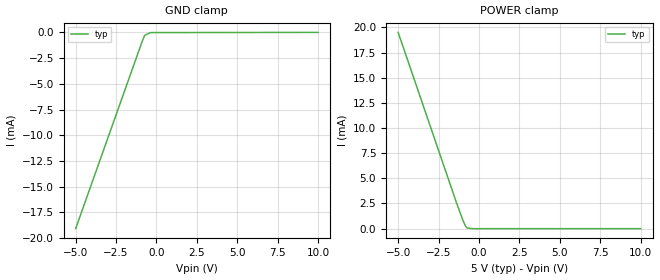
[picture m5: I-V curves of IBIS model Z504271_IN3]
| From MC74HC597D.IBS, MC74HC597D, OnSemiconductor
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| (C) COPYRIGHT 1993-2000
| MENTOR GRAPHICS CORPORATION
| ICX STANDARD LIBRARY, ICX PROJECT MODELING,
| ICX CUSTOM MODELING, ICX VENDOR MODEL
| ALL RIGHTS RESERVED.
| THE FOLLOWING ARE TRADEMARKS OR SERVICE MARKS OF
| MENTOR GRAPHICS CORPORATION:ICX (R), ICX STANDARD
| LIBRARY(R), ICX PROJECT MODELING(R), ICX CUSTOM
| MODELING(R), qualityIBIS(TM), MODELVIEWER(TM),
| AND MODELEDITOR(TM)
| ALL COPIES OF SOFTWARE, INCLUDING BUT NOT LIMITED TO
| ANY MODIFICATIONS, ENHANCEMENTS OR DERIVATIVE WORKS,
| MUST CONTAIN ALL MENTOR GRAPHICS CORPORATION'S
| NOTICES AND LEGENDS, INCLUDING THOSE EMBEDDED IN
| SOFTWARE AND THOSE AFFIXED TO SOFTWARE MEDIUM
| AND CONTAINER, AS RECEIVED FROM MENTOR GRAPHICS
| CORPORATION.
| Model Application Version 1.89 2/18/99.
[Model] Z504271_IN3
Model_type Input
Vinl = 1.000V
Vinh = 3.500V
C_comp 4.000pF NA NA
| variable typ   min   max
[Voltage Range] 5.000V NA NA
[GND Clamp Reference] 0.000V NA NA
[POWER Clamp Reference] 5.000V NA NA
[GND Clamp]
-5V       -19.08mA   NA         NA
-878.9mV  -853.4uA   NA         NA
-727.8mV  -285.7uA   NA         NA
-363.9mV  -17.85uA   NA         NA
10V       692nA      NA         NA
[POWER Clamp]
-5V       19.5mA     NA         NA
-1.406V   2.646mA    NA         NA
-1.005V   881.8uA    NA         NA
-849mV    314.8uA    NA         NA
-731mV    61.49uA    NA         NA
-365.5mV  0A         NA         NA
10V       0A         NA         NA
